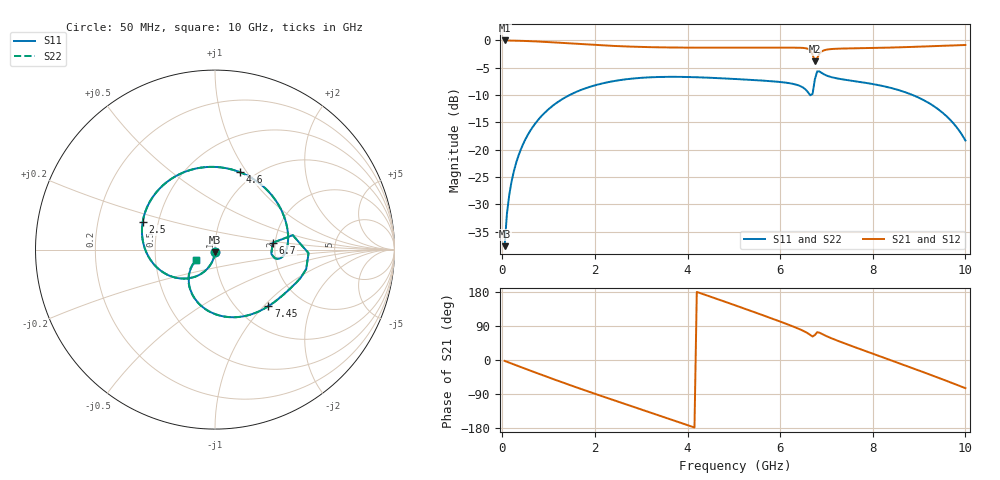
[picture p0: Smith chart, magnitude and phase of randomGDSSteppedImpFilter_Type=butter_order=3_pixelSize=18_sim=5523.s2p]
! freq	dB(S11)	phase(S11)	dB(S12)	phase(S12)
!  dB(S21)	phase(S21)	dB(S22)	phase(S22)
!S-par simulation data
#  GHz  S  DB  R 50
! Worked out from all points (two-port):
!   200 points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, 50 MHz to 10 GHz, reference 50 ohm
!   highest |S21| = -0.01 dB at 50 MHz (marker M1); lowest = -3.8 dB at 6.75 GHz (marker M2)
!   |S21| within 3 dB of the highest: start of sweep to 6.716 GHz; 6.813 GHz to end of sweep
!   lowest |S11| = -37.7 dB at 50 MHz (marker M3), VSWR 1.03, Z = 50 - j1.31 ohm
!   |S11| at or under -10 dB: start of sweep to 1.453 GHz; 6.646067 GHz to 6.659038 GHz (12.97 MHz wide, 0.195 % of centre); 8.863 GHz to end of sweep
!   |S22| runs from -37.7 to -5.7 dB; largest |S21 - S12| = 0
!   S11 on the Smith chart (normalised r, x): 50 MHz: 1.00, -0.03; 2.5 GHz: 0.41, +0.15; 4.6 GHz: 0.85, +0.93; 6.7 GHz: 1.94, +0.17; 7.45 GHz: 1.37, -1.06; 10 GHz: 0.80, -0.10
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0.05  -37.65 -91.1  -0.01 -2.4  -0.01 -2.4  -37.66 -90.8
0.1  -31.75 -94.1  -0.01 -4.7  -0.01 -4.7  -31.75 -94.1
0.2  -25.83 -99.5  -0.03 -9.3  -0.03 -9.3  -25.83 -99.5
0.5  -18.09 -113.7  -0.10 -23.2  -0.10 -23.2  -18.09 -113.7
1.15  -11.57 -143.3  -0.38 -52.5  -0.38 -52.5  -11.57 -143.2
1.75  -8.90 -169.3  -0.70 -78.6  -0.70 -78.6  -8.90 -169.3
2.5  -7.31 159.3  -1.04 -109.9  -1.04 -109.9  -7.31 159.4
3.4  -6.69 122.3  -1.26 -147.0  -1.26 -147.0  -6.69 122.4
4  -6.69 97.4  -1.32 -171.9  -1.32 -171.9  -6.69 97.5
4.6  -6.88 72.3  -1.33 162.7  -1.33 162.7  -6.88 72.4
5.05  -7.07 53.3  -1.32 143.4  -1.32 143.4  -7.07 53.3
5.6  -7.34 29.8  -1.32 119.4  -1.32 119.4  -7.34 29.9
6.1  -7.70 8.5  -1.32 96.9  -1.32 96.9  -7.70 8.6
6.55  -8.98 -8.4  -1.42 73.8  -1.42 73.8  -8.99 -8.4
6.7  -9.79 6.8  -2.60 62.0  -2.60 62.0  -9.80 6.8
6.75  -7.12 10.5  -3.84 66.0  -3.84 66.0  -7.12 10.5
6.8  -5.65 -2.2  -3.22 73.3  -3.22 73.3  -5.65 -2.2
6.95  -6.21 -22.1  -1.80 65.8  -1.80 65.8  -6.22 -22.1
7.45  -7.26 -46.7  -1.46 41.2  -1.46 41.2  -7.26 -46.8
8.35  -8.61 -84.5  -1.31 1.1  -1.31 1.1  -8.61 -84.8
9.15  -11.16 -117.6  -1.09 -34.7  -1.09 -34.7  -11.17 -118.1
10  -18.31 -150.1  -0.84 -74.3  -0.84 -74.3  -18.36 -151.5
